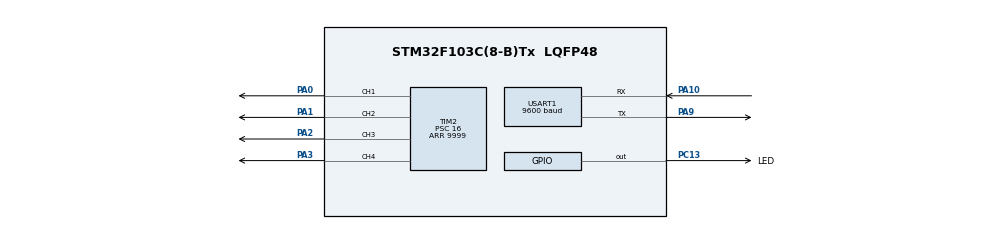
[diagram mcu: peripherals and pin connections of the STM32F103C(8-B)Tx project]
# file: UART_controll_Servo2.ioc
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Mcu.Family=STM32F1
Mcu.Name=STM32F103C(8-B)Tx
Mcu.Package=LQFP48
NVIC.PriorityGroup=NVIC_PRIORITYGROUP_4
PA0-WKUP.Signal=S_TIM2_CH1_ETR
PA1.Signal=S_TIM2_CH2
PA10.Mode=Asynchronous
PA10.Signal=USART1_RX
PA13.Mode=Serial_Wire
PA13.Signal=SYS_JTMS-SWDIO
PA14.Mode=Serial_Wire
PA14.Signal=SYS_JTCK-SWCLK
PA2.Signal=S_TIM2_CH3
PA3.Signal=S_TIM2_CH4
PA9.Mode=Asynchronous
PA9.Signal=USART1_TX
PC13-TAMPER-RTC.GPIO_Label=LED
PC13-TAMPER-RTC.Signal=GPIO_Output
PD0-OSC_IN.Mode=HSE-External-Oscillator
PD0-OSC_IN.Signal=RCC_OSC_IN
PD1-OSC_OUT.Mode=HSE-External-Oscillator
PD1-OSC_OUT.Signal=RCC_OSC_OUT
ProjectManager.HeapSize=0x200
ProjectManager.StackSize=0x400
ProjectManager.TargetToolchain=Makefile
RCC.APB1Freq_Value=8000000
RCC.APB2Freq_Value=8000000
SH.S_TIM2_CH1_ETR.0=TIM2_CH1,PWM Generation1 CH1
SH.S_TIM2_CH2.0=TIM2_CH2,PWM Generation2 CH2
SH.S_TIM2_CH3.0=TIM2_CH3,PWM Generation3 CH3
SH.S_TIM2_CH4.0=TIM2_CH4,PWM Generation4 CH4
TIM2.Channel-PWM\ Generation1\ CH1=TIM_CHANNEL_1
TIM2.Channel-PWM\ Generation2\ CH2=TIM_CHANNEL_2
TIM2.Channel-PWM\ Generation3\ CH3=TIM_CHANNEL_3
TIM2.Channel-PWM\ Generation4\ CH4=TIM_CHANNEL_4
TIM2.Period=9999
TIM2.Prescaler=16
USART1.BaudRate=9600
USART1.Parity=PARITY_EVEN
USART1.VirtualMode=VM_ASYNC
USART1.WordLength=WORDLENGTH_9B
board=custom

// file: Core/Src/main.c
/* USER CODE BEGIN Header */
/**
 ******************************************************************************
 * @file           : main.c
 * @brief          : Main program body
 ******************************************************************************
 * @attention
 *
 * <h2><center>&copy; Copyright (c) 2021 STMicroelectronics.
 * All rights reserved.</center></h2>
 *
 * This software component is licensed by ST under BSD 3-Clause license,
 * the "License"; You may not use this file except in compliance with the
 * License. You may obtain a copy of the License at:
 *                        opensource.org/licenses/BSD-3-Clause
 *
 ******************************************************************************
 */
/* USER CODE END Header */
#include "main.h"
#include "tim.h"
#include "usart.h"
#include "gpio.h"

/* USER CODE BEGIN Includes */
#include <stdio.h>
#include <string.h>
#include <stdlib.h>
/* USER CODE END Includes */

/* USER CODE BEGIN PV */
uint16_t current_pos1 = 400;
uint16_t current_pos2 = 500;
uint16_t current_pos3 = 600;
uint16_t current_pos4 = 950;
/* USER CODE END PV */

void SystemClock_Config(void);
/* USER CODE BEGIN PFP */
void servo_start(void);
void servo_grap(void);
void servo_right(void);
void servo_middle(void);
void servo_left(void);
/* USER CODE END PFP */

int main(void)
{

  /* MCU Configuration--------------------------------------------------------*/

  /* Reset of all peripherals, Initializes the Flash interface and the Systick. */
  HAL_Init();

  /* Configure the system clock */
  SystemClock_Config();

  /* Initialize all configured peripherals */
  MX_GPIO_Init();
  MX_USART1_UART_Init();
  MX_TIM2_Init();
  /* USER CODE BEGIN 2 */

  HAL_TIM_PWM_Start(&htim2, TIM_CHANNEL_1);
  HAL_TIM_PWM_Start(&htim2, TIM_CHANNEL_2);
  HAL_TIM_PWM_Start(&htim2, TIM_CHANNEL_3);
  HAL_TIM_PWM_Start(&htim2, TIM_CHANNEL_4);
  __HAL_TIM_SET_COMPARE(&htim2, TIM_CHANNEL_1, current_pos1); // START POSITION
  __HAL_TIM_SET_COMPARE(&htim2, TIM_CHANNEL_2, current_pos2); // START POSITION
  __HAL_TIM_SET_COMPARE(&htim2, TIM_CHANNEL_3, current_pos3); // START POSITION
  __HAL_TIM_SET_COMPARE(&htim2, TIM_CHANNEL_4, current_pos4); // START POSITION

  char buffer[1];
  char msg[30];
  /* USER CODE END 2 */

  /* Infinite loop */
  while (1)
  {

    /* USER CODE BEGIN 3 */

    // START UART
    uint8_t arr[9] = {0};
    uint8_t i = 0, myInt = 0;
    uint16_t goal;
    if (HAL_UART_Receive(&huart1, buffer, 1, 1000) == HAL_OK && buffer[0] == '!') // only read if serial is OK and there is a start char "!"
    {
      while (buffer[0] != '#') // loop till encounter the end char "#"
      {
        HAL_UART_Receive(&huart1, buffer, 1, 1000);
        // if (buffer[0] == ':') //save all char before ":" in myInt
        // {
        //   i = 0;
        //   myInt = atoi(arr);
        //   memset(&arr[0], 0, sizeof(arr)); //clear arr array
        //   continue;
        // }
        if (buffer[0] == '#') // add all char before "#" to myInt
        {
          goal = atoi(arr);
          memset(&arr[0], 0, sizeof(arr)); // clear arr array
        }
        arr[i] = buffer[0]; // add buffer char to array
        i++;
      }
      sprintf(msg, "The goal is: %d \n\r", goal);
      HAL_UART_Transmit(&huart1, msg, strlen(msg), 1000);

      // SERVO MOTOR test
      //  if (current_pos2 < goal2){
      //    for(current_pos2; current_pos2 < goal2; current_pos2++)
      //    {
      //    __HAL_TIM_SET_COMPARE(&htim2,TIM_CHANNEL_2, current_pos2);
      //    HAL_Delay(1);
      //    }
      //  }
      //  else if (current_pos2 > goal2){
      //    for(current_pos2; current_pos2 > goal2; current_pos2--)
      //    {
      //    __HAL_TIM_SET_COMPARE(&htim2,TIM_CHANNEL_2, current_pos2);
      //    HAL_Delay(1);
      //    }
      //  }
      // END SERVO MOTOR TEST

      if (goal == 5)
      {
        sprintf(msg, "Go to Start\r\n");
        HAL_UART_Transmit(&huart1, msg, strlen(msg), 1000);
        servo_start();
      }

      else if (goal == 4)
      {
        sprintf(msg, "Grapp the cube\r\n");
        HAL_UART_Transmit(&huart1, msg, strlen(msg), 1000);
        servo_grap();
      }

      else if (goal == 0)
      {
        HAL_GPIO_TogglePin(LED_GPIO_Port, LED_Pin);
        HAL_Delay(500);
        HAL_GPIO_TogglePin(LED_GPIO_Port, LED_Pin);
        sprintf(msg, "right	\r\n");
        HAL_UART_Transmit(&huart1, msg, strlen(msg), 1000);
        servo_grap();
        servo_right();
        servo_start();
      }

      else if (goal == 1)
      {
        sprintf(msg, "middle\r\n");
        HAL_UART_Transmit(&huart1, msg, strlen(msg), 1000);
        servo_grap();
        servo_middle();
        servo_start();
      }

      else if (goal == 2)
      {
        sprintf(msg, "left\r\n");
        HAL_UART_Transmit(&huart1, msg, strlen(msg), 1000);
        servo_grap();
        servo_left();
        servo_start();
      }
    }
    // END UART
  }
  /* USER CODE END 3 */
}

void SystemClock_Config(void)
{
  RCC_OscInitTypeDef RCC_OscInitStruct = {0};
  RCC_ClkInitTypeDef RCC_ClkInitStruct = {0};

  /** Initializes the RCC Oscillators according to the specified parameters
  * in the RCC_OscInitTypeDef structure.
  */
  RCC_OscInitStruct.OscillatorType = RCC_OSCILLATORTYPE_HSI;
  RCC_OscInitStruct.HSIState = RCC_HSI_ON;
  RCC_OscInitStruct.HSICalibrationValue = RCC_HSICALIBRATION_DEFAULT;
  RCC_OscInitStruct.PLL.PLLState = RCC_PLL_NONE;
  if (HAL_RCC_OscConfig(&RCC_OscInitStruct) != HAL_OK)
  {
    Error_Handler();
  }
  /** Initializes the CPU, AHB and APB buses clocks
  */
  RCC_ClkInitStruct.ClockType = RCC_CLOCKTYPE_HCLK|RCC_CLOCKTYPE_SYSCLK
                              |RCC_CLOCKTYPE_PCLK1|RCC_CLOCKTYPE_PCLK2;
  RCC_ClkInitStruct.SYSCLKSource = RCC_SYSCLKSOURCE_HSI;
  RCC_ClkInitStruct.AHBCLKDivider = RCC_SYSCLK_DIV1;
  RCC_ClkInitStruct.APB1CLKDivider = RCC_HCLK_DIV1;
  RCC_ClkInitStruct.APB2CLKDivider = RCC_HCLK_DIV1;

  if (HAL_RCC_ClockConfig(&RCC_ClkInitStruct, FLASH_LATENCY_0) != HAL_OK)
  {
    Error_Handler();
  }
}

/* USER CODE BEGIN 4 */
void servo_start(void)
{
  uint16_t joint1 = 400;
  uint16_t joint2 = 600;
  uint16_t joint3 = 600;
  uint16_t joint4 = 950;

  // JOINT2
  if (current_pos2 < joint2)
  {
    for (current_pos2; current_pos2 < joint2; current_pos2++)
    {
      __HAL_TIM_SET_COMPARE(&htim2, TIM_CHANNEL_2, current_pos2);
      HAL_Delay(10);
    }
  }
  else if (current_pos2 > joint2)
  {
    for (current_pos2; current_pos2 > joint2; current_pos2--)
    {
      __HAL_TIM_SET_COMPARE(&htim2, TIM_CHANNEL_2, current_pos2);
      HAL_Delay(10);
    }
  }

  // JOINT3
  if (current_pos3 < joint3)
  {
    for (current_pos3; current_pos3 < joint3; current_pos3++)
    {
      __HAL_TIM_SET_COMPARE(&htim2, TIM_CHANNEL_3, current_pos3);
      HAL_Delay(10);
    }
  }
  else if (current_pos3 > joint3)
  {
    for (current_pos3; current_pos3 > joint3; current_pos3--)
    {
      __HAL_TIM_SET_COMPARE(&htim2, TIM_CHANNEL_3, current_pos3);
      HAL_Delay(10);
    }
  }
  // JOINT1
  if (current_pos1 < joint1)
  {
    for (current_pos1; current_pos1 < joint1; current_pos1++)
    {
      __HAL_TIM_SET_COMPARE(&htim2, TIM_CHANNEL_1, current_pos1);
      HAL_Delay(10);
    }
  }
  else if (current_pos1 > joint1)
  {
    for (current_pos1; current_pos1 > joint1; current_pos1--)
    {
      __HAL_TIM_SET_COMPARE(&htim2, TIM_CHANNEL_1, current_pos1);
      HAL_Delay(10);
    }
  }
  // JOINT4
  if (current_pos4 < joint4)
  {
    for (current_pos4; current_pos4 < joint4; current_pos4++)
    {
      __HAL_TIM_SET_COMPARE(&htim2, TIM_CHANNEL_4, current_pos4);
      HAL_Delay(10);
    }
  }
  else if (current_pos4 > joint4)
  {
    for (current_pos4; current_pos4 > joint4; current_pos4--)
    {
      __HAL_TIM_SET_COMPARE(&htim2, TIM_CHANNEL_4, current_pos4);
      HAL_Delay(10);
    }
  }
}

void servo_grap(void)
{
  uint16_t joint1 = 400;
  uint16_t joint2 = 680;
  uint16_t joint3 = 780;
  uint16_t joint4 = 650;

  // JOINT1
  if (current_pos1 < joint1)
  {
    for (current_pos1; current_pos1 < joint1; current_pos1++)
    {
      __HAL_TIM_SET_COMPARE(&htim2, TIM_CHANNEL_1, current_pos1);
      HAL_Delay(10);
    }
  }
  else if (current_pos1 > joint1)
  {
    for (current_pos1; current_pos1 > joint1; current_pos1--)
    {
      __HAL_TIM_SET_COMPARE(&htim2, TIM_CHANNEL_1, current_pos1);
      HAL_Delay(10);
    }
  }

  // JOINT3
  if (current_pos3 < joint3)
  {
    for (current_pos3; current_pos3 < joint3; current_pos3++)
    {
      __HAL_TIM_SET_COMPARE(&htim2, TIM_CHANNEL_3, current_pos3);
      HAL_Delay(10);
    }
  }
  else if (current_pos3 > joint3)
  {
    for (current_pos3; current_pos3 > joint3; current_pos3--)
    {
      __HAL_TIM_SET_COMPARE(&htim2, TIM_CHANNEL_3, current_pos3);
      HAL_Delay(10);
    }
  }
  // JOINT2
  if (current_pos2 < joint2)
  {
    for (current_pos2; current_pos2 < joint2; current_pos2++)
    {
      __HAL_TIM_SET_COMPARE(&htim2, TIM_CHANNEL_2, current_pos2);
      HAL_Delay(10);
    }
  }
  else if (current_pos2 > joint2)
  {
    for (current_pos2; current_pos2 > joint2; current_pos2--)
    {
      __HAL_TIM_SET_COMPARE(&htim2, TIM_CHANNEL_2, current_pos2);
      HAL_Delay(10);
    }
  }
  // JOINT4
  if (current_pos4 < joint4)
  {
    for (current_pos4; current_pos4 < joint4; current_pos4++)
    {
      __HAL_TIM_SET_COMPARE(&htim2, TIM_CHANNEL_4, current_pos4);
      HAL_Delay(10);
    }
  }
  else if (current_pos4 > joint4)
  {
    for (current_pos4; current_pos4 > joint4; current_pos4--)
    {
      __HAL_TIM_SET_COMPARE(&htim2, TIM_CHANNEL_4, current_pos4);
      HAL_Delay(10);
    }
  }
}

void servo_right(void)
{
  uint16_t joint1 = 650;
  uint16_t joint2 = 650;
  uint16_t joint3 = 600;
  uint16_t joint4 = 950;

  // JOINT2
  if (current_pos2 < joint2)
  {
    for (current_pos2; current_pos2 < joint2; current_pos2++)
    {
      __HAL_TIM_SET_COMPARE(&htim2, TIM_CHANNEL_2, current_pos2);
      HAL_Delay(10);
    }
  }
  else if (current_pos2 > joint2)
  {
    for (current_pos2; current_pos2 > joint2; current_pos2--)
    {
      __HAL_TIM_SET_COMPARE(&htim2, TIM_CHANNEL_2, current_pos2);
      HAL_Delay(10);
    }
  }

  // JOINT3
  if (current_pos3 < joint3)
  {
    for (current_pos3; current_pos3 < joint3; current_pos3++)
    {
      __HAL_TIM_SET_COMPARE(&htim2, TIM_CHANNEL_3, current_pos3);
      HAL_Delay(10);
    }
  }
  else if (current_pos3 > joint3)
  {
    for (current_pos3; current_pos3 > joint3; current_pos3--)
    {
      __HAL_TIM_SET_COMPARE(&htim2, TIM_CHANNEL_3, current_pos3);
      HAL_Delay(10);
    }
  }

  // JOINT1
  joint2 = 800;
  if (current_pos1 < joint1)
  {
    for (current_pos1; current_pos1 < joint1; current_pos1++)
    {
      __HAL_TIM_SET_COMPARE(&htim2, TIM_CHANNEL_1, current_pos1);
      HAL_Delay(10);
    }
  }
  else if (current_pos1 > joint1)
  {
    for (current_pos1; current_pos1 > joint1; current_pos1--)
    {
      __HAL_TIM_SET_COMPARE(&htim2, TIM_CHANNEL_1, current_pos1);
      HAL_Delay(10);
    }
  }

// JOINT2
  if (current_pos2 < joint2)
  {
    for (current_pos2; current_pos2 < joint2; current_pos2++)
    {
      __HAL_TIM_SET_COMPARE(&htim2, TIM_CHANNEL_2, current_pos2);
      HAL_Delay(10);
    }
  }
  else if (current_pos2 > joint2)
  {
    for (current_pos2; current_pos2 > joint2; current_pos2--)
    {
      __HAL_TIM_SET_COMPARE(&htim2, TIM_CHANNEL_2, current_pos2);
      HAL_Delay(10);
    }
  }

  // JOINT4
  if (current_pos4 < joint4)
  {
    for (current_pos4; current_pos4 < joint4; current_pos4++)
    {
      __HAL_TIM_SET_COMPARE(&htim2, TIM_CHANNEL_4, current_pos4);
      HAL_Delay(10);
    }
  }
  else if (current_pos4 > joint4)
  {
    for (current_pos4; current_pos4 > joint4; current_pos4--)
    {
      __HAL_TIM_SET_COMPARE(&htim2, TIM_CHANNEL_4, current_pos4);
      HAL_Delay(10);
    }
  }
}

void servo_middle(void)
{
  uint16_t joint1 = 850;
  uint16_t joint2 = 650;
  uint16_t joint3 = 600;
  uint16_t joint4 = 950;

  // JOINT2
  if (current_pos2 < joint2)
  {
    for (current_pos2; current_pos2 < joint2; current_pos2++)
    {
      __HAL_TIM_SET_COMPARE(&htim2, TIM_CHANNEL_2, current_pos2);
      HAL_Delay(10);
    }
  }
  else if (current_pos2 > joint2)
  {
    for (current_pos2; current_pos2 > joint2; current_pos2--)
    {
      __HAL_TIM_SET_COMPARE(&htim2, TIM_CHANNEL_2, current_pos2);
      HAL_Delay(10);
    }
  }

  // JOINT3
  if (current_pos3 < joint3)
  {
    for (current_pos3; current_pos3 < joint3; current_pos3++)
    {
      __HAL_TIM_SET_COMPARE(&htim2, TIM_CHANNEL_3, current_pos3);
      HAL_Delay(10);
    }
  }
  else if (current_pos3 > joint3)
  {
    for (current_pos3; current_pos3 > joint3; current_pos3--)
    {
      __HAL_TIM_SET_COMPARE(&htim2, TIM_CHANNEL_3, current_pos3);
      HAL_Delay(10);
    }
  }

  // JOINT1
  joint2 = 800;
  if (current_pos1 < joint1)
  {
    for (current_pos1; current_pos1 < joint1; current_pos1++)
    {
      __HAL_TIM_SET_COMPARE(&htim2, TIM_CHANNEL_1, current_pos1);
      HAL_Delay(10);
    }
  }
  else if (current_pos1 > joint1)
  {
    for (current_pos1; current_pos1 > joint1; current_pos1--)
    {
      __HAL_TIM_SET_COMPARE(&htim2, TIM_CHANNEL_1, current_pos1);
      HAL_Delay(10);
    }
  }

// JOINT2
  if (current_pos2 < joint2)
  {
    for (current_pos2; current_pos2 < joint2; current_pos2++)
    {
      __HAL_TIM_SET_COMPARE(&htim2, TIM_CHANNEL_2, current_pos2);
      HAL_Delay(10);
    }
  }
  else if (current_pos2 > joint2)
  {
    for (current_pos2; current_pos2 > joint2; current_pos2--)
    {
      __HAL_TIM_SET_COMPARE(&htim2, TIM_CHANNEL_2, current_pos2);
      HAL_Delay(10);
    }
  }

  // JOINT4
  if (current_pos4 < joint4)
  {
    for (current_pos4; current_pos4 < joint4; current_pos4++)
    {
      __HAL_TIM_SET_COMPARE(&htim2, TIM_CHANNEL_4, current_pos4);
      HAL_Delay(10);
    }
  }
  else if (current_pos4 > joint4)
  {
    for (current_pos4; current_pos4 > joint4; current_pos4--)
    {
      __HAL_TIM_SET_COMPARE(&htim2, TIM_CHANNEL_4, current_pos4);
      HAL_Delay(10);
    }
  }
}

void servo_left(void)
{
  uint16_t joint1 = 1050;
  uint16_t joint2 = 650;
  uint16_t joint3 = 600;
  uint16_t joint4 = 950;

  // JOINT2
  if (current_pos2 < joint2)
  {
    for (current_pos2; current_pos2 < joint2; current_pos2++)
    {
      __HAL_TIM_SET_COMPARE(&htim2, TIM_CHANNEL_2, current_pos2);
      HAL_Delay(10);
    }
  }
  else if (current_pos2 > joint2)
  {
    for (current_pos2; current_pos2 > joint2; current_pos2--)
    {
      __HAL_TIM_SET_COMPARE(&htim2, TIM_CHANNEL_2, current_pos2);
      HAL_Delay(10);
    }
  }

  // JOINT3
  if (current_pos3 < joint3)
  {
    for (current_pos3; current_pos3 < joint3; current_pos3++)
    {
      __HAL_TIM_SET_COMPARE(&htim2, TIM_CHANNEL_3, current_pos3);
      HAL_Delay(10);
    }
  }
  else if (current_pos3 > joint3)
  {
    for (current_pos3; current_pos3 > joint3; current_pos3--)
    {
      __HAL_TIM_SET_COMPARE(&htim2, TIM_CHANNEL_3, current_pos3);
      HAL_Delay(10);
    }
  }

  // JOINT1
  joint2 = 800;
  if (current_pos1 < joint1)
  {
    for (current_pos1; current_pos1 < joint1; current_pos1++)
    {
      __HAL_TIM_SET_COMPARE(&htim2, TIM_CHANNEL_1, current_pos1);
      HAL_Delay(10);
    }
  }
  else if (current_pos1 > joint1)
  {
    for (current_pos1; current_pos1 > joint1; current_pos1--)
    {
      __HAL_TIM_SET_COMPARE(&htim2, TIM_CHANNEL_1, current_pos1);
      HAL_Delay(10);
    }
  }

// JOINT2
  if (current_pos2 < joint2)
  {
    for (current_pos2; current_pos2 < joint2; current_pos2++)
    {
      __HAL_TIM_SET_COMPARE(&htim2, TIM_CHANNEL_2, current_pos2);
      HAL_Delay(10);
    }
  }
  else if (current_pos2 > joint2)
  {
    for (current_pos2; current_pos2 > joint2; current_pos2--)
    {
      __HAL_TIM_SET_COMPARE(&htim2, TIM_CHANNEL_2, current_pos2);
      HAL_Delay(10);
    }
  }

  // JOINT4
  if (current_pos4 < joint4)
  {
    for (current_pos4; current_pos4 < joint4; current_pos4++)
    {
      __HAL_TIM_SET_COMPARE(&htim2, TIM_CHANNEL_4, current_pos4);
      HAL_Delay(10);
    }
  }
  else if (current_pos4 > joint4)
  {
    for (current_pos4; current_pos4 > joint4; current_pos4--)
    {
      __HAL_TIM_SET_COMPARE(&htim2, TIM_CHANNEL_4, current_pos4);
      HAL_Delay(10);
    }
  }
}
/* USER CODE END 4 */

void Error_Handler(void)
{
  __disable_irq();
  while (1)
  {
  }
}

/************************ (C) COPYRIGHT STMicroelectronics *****END OF FILE****/
